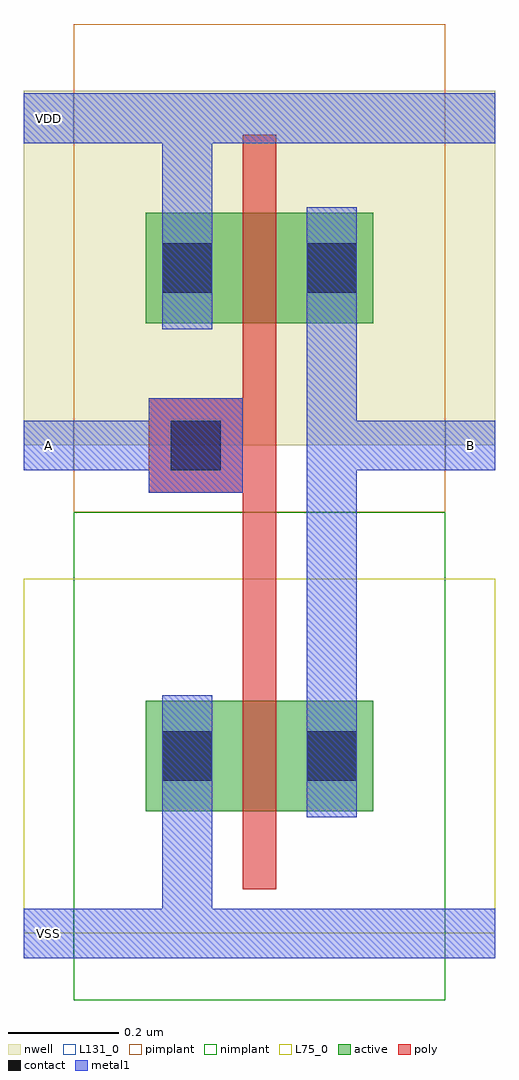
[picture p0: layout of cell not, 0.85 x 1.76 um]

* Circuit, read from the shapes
.subckt not A B VDD VSS
M1 B A VSS VSUBS nfet w=0.2u l=0.06u
M2 B A VDD n1 pfet w=0.2u l=0.06u
.ends

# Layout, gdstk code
import gdstk
lib = gdstk.Library(unit=1e-6, precision=1e-09)
def R(c, l, rs):  # rectangles x0, y0, x1, y1
    for r in rs: c.add(gdstk.rectangle(r[:2], r[2:], *l))
nwell = (3, 0)
active = (6, 0)
poly = (17, 0)
pimplant = (25, 0)
nimplant = (26, 0)
contact = (30, 0)
metal1 = (31, 0)
L75_0 = (75, 0)
L131_0 = (131, 0)

nch_cdns_688391570020 = lib.new_cell('nch_CDNS_688391570020')
R(nch_cdns_688391570020, active, [(-0.175,0,0,0.2), (0,0,0.06,0.2), (0.06,0,0.235,0.2)])
R(nch_cdns_688391570020, poly, [(0,-0.14,0.06,0), (0,0,0.06,0.2), (0,0.2,0.06,0.34)])
R(nch_cdns_688391570020, nimplant, [(-0.305,-0.34,0.365,0.54)])
R(nch_cdns_688391570020, contact, [(-0.145,0.055,-0.055,0.145), (0.115,0.055,0.205,0.145)])
R(nch_cdns_688391570020, metal1, [(-0.145,-0.01,-0.055,0.21), (0.115,-0.01,0.205,0.21)])
R(nch_cdns_688391570020, L75_0, [(-0.395,-0.22,0.455,0.42)])
nch_cdns_688391570020.add(gdstk.Label('& SerialNumber 000000', (0,0), layer=63, texttype=63))
nch_cdns_688391570020.add(gdstk.Label('& Distributor TSMC', (0,0), layer=63, texttype=63))
nch_cdns_688391570020.add(gdstk.Label('& Metric 1', (0,0), layer=63, texttype=63))
nch_cdns_688391570020.add(gdstk.Label('& PDK TechNode "CRN65LP"', (0,0), layer=63, texttype=63))
nch_cdns_688391570020.add(gdstk.Label('& Product    tsmcN65_PDK', (0,0), layer=63, texttype=63))
nch_cdns_688391570020.add(gdstk.Label('& Vendor     Taiwan Semiconductor manufacturing Corp.', (0,0), layer=63, texttype=63))
nch_cdns_688391570020.add(gdstk.Label('[@instanceName]', (0.03,0.1), layer=127, texttype=0))
nch_cdns_688391570020.add(gdstk.Label('nch\n0.2/0.06\n', (0,0), layer=127, texttype=0))
nch_cdns_688391570020.add(gdstk.Label('D', (0.16,0.1), layer=127, texttype=0))
nch_cdns_688391570020.add(gdstk.Label('S', (-0.1,0.1), layer=127, texttype=0))

pch_cdns_688391570021 = lib.new_cell('pch_CDNS_688391570021')
R(pch_cdns_688391570021, nwell, [(-0.395,-0.22,0.455,0.42)])
R(pch_cdns_688391570021, active, [(-0.175,0,0,0.2), (0,0,0.06,0.2), (0.06,0,0.235,0.2)])
R(pch_cdns_688391570021, poly, [(0,-0.14,0.06,0), (0,0,0.06,0.2), (0,0.2,0.06,0.34)])
R(pch_cdns_688391570021, pimplant, [(-0.305,-0.34,0.365,0.54)])
R(pch_cdns_688391570021, contact, [(-0.145,0.055,-0.055,0.145), (0.115,0.055,0.205,0.145)])
R(pch_cdns_688391570021, metal1, [(-0.145,-0.01,-0.055,0.21), (0.115,-0.01,0.205,0.21)])
pch_cdns_688391570021.add(gdstk.Label('& SerialNumber 000000', (0,0), layer=63, texttype=63))
pch_cdns_688391570021.add(gdstk.Label('& Distributor TSMC', (0,0), layer=63, texttype=63))
pch_cdns_688391570021.add(gdstk.Label('& Metric 1', (0,0), layer=63, texttype=63))
pch_cdns_688391570021.add(gdstk.Label('& PDK TechNode "CRN65LP"', (0,0), layer=63, texttype=63))
pch_cdns_688391570021.add(gdstk.Label('& Product    tsmcN65_PDK', (0,0), layer=63, texttype=63))
pch_cdns_688391570021.add(gdstk.Label('& Vendor     Taiwan Semiconductor manufacturing Corp.', (0,0), layer=63, texttype=63))
pch_cdns_688391570021.add(gdstk.Label('[@instanceName]', (0.03,0.1), layer=127, texttype=0))
pch_cdns_688391570021.add(gdstk.Label('pch\n0.2/0.06\n', (0,0), layer=127, texttype=0))
pch_cdns_688391570021.add(gdstk.Label('D', (0.16,0.1), layer=127, texttype=0))
pch_cdns_688391570021.add(gdstk.Label('S', (-0.1,0.1), layer=127, texttype=0))

m1_po_cdns_688391570020 = lib.new_cell('M1_PO_CDNS_688391570020')
R(m1_po_cdns_688391570020, poly, [(-0.085,-0.085,0.085,0.085)])
R(m1_po_cdns_688391570020, contact, [(-0.045,-0.045,0.045,0.045)])
R(m1_po_cdns_688391570020, metal1, [(-0.085,-0.085,0.085,0.085)])

not_ = lib.new_cell('not')
R(not_, L131_0, [(0,0.075,0.09,0.165), (0,0.955,0.09,1.045), (0.76,0.955,0.85,1.045), (0,1.545,0.09,1.635)])
not_.add(gdstk.FlexPath([(0.425,1.08),(0.425,0.68)], 0.06, ends="flush", simple_path=True, layer=17, datatype=0))  # poly
not_.add(gdstk.FlexPath([(0.85,1.59),(0.295,1.59)], 0.09, ends=(0, 0.045), simple_path=True, layer=31, datatype=0))  # metal1
not_.add(gdstk.FlexPath([(0.85,0.12),(0.295,0.12)], 0.09, ends=(0, 0.045), simple_path=True, layer=31, datatype=0))  # metal1
not_.add(gdstk.FlexPath([(0.555,1),(0.85,1)], 0.09, ends=(0.045, 0), simple_path=True, layer=31, datatype=0))  # metal1
not_.add(gdstk.FlexPath([(0.555,1),(0.555,0.55)], 0.09, ends=(0.045, 0), simple_path=True, layer=31, datatype=0))  # metal1
not_.add(gdstk.FlexPath([(0,1),(0.31,1)], 0.09, ends="flush", simple_path=True, layer=31, datatype=0))  # metal1
not_.add(gdstk.FlexPath([(0.295,0.33),(0.295,0.12)], 0.09, ends=(0, 0.045), simple_path=True, layer=31, datatype=0))  # metal1
not_.add(gdstk.FlexPath([(0.295,0.12),(0,0.12)], 0.09, ends=(0.045, 0), simple_path=True, layer=31, datatype=0))  # metal1
not_.add(gdstk.FlexPath([(0.295,1.59),(0,1.59)], 0.09, ends=(0.045, 0), simple_path=True, layer=31, datatype=0))  # metal1
not_.add(gdstk.FlexPath([(0.555,1.21),(0.555,1)], 0.09, ends=(0, 0.045), simple_path=True, layer=31, datatype=0))  # metal1
not_.add(gdstk.FlexPath([(0.295,1.43),(0.295,1.59)], 0.09, ends=(0, 0.045), simple_path=True, layer=31, datatype=0))  # metal1
not_.add(gdstk.Reference(nch_cdns_688391570020, (0.395,0.34)))
not_.add(gdstk.Reference(pch_cdns_688391570021, (0.395,1.22)))
not_.add(gdstk.Reference(m1_po_cdns_688391570020, (0.31,1)))
not_.add(gdstk.Label('VSS', (0.045,0.12), layer=131, texttype=0))
not_.add(gdstk.Label('B', (0.805,1), layer=131, texttype=0))
not_.add(gdstk.Label('A', (0.045,1), layer=131, texttype=0))
not_.add(gdstk.Label('VDD', (0.045,1.59), layer=131, texttype=0))

lib.write_gds('not.gds')
